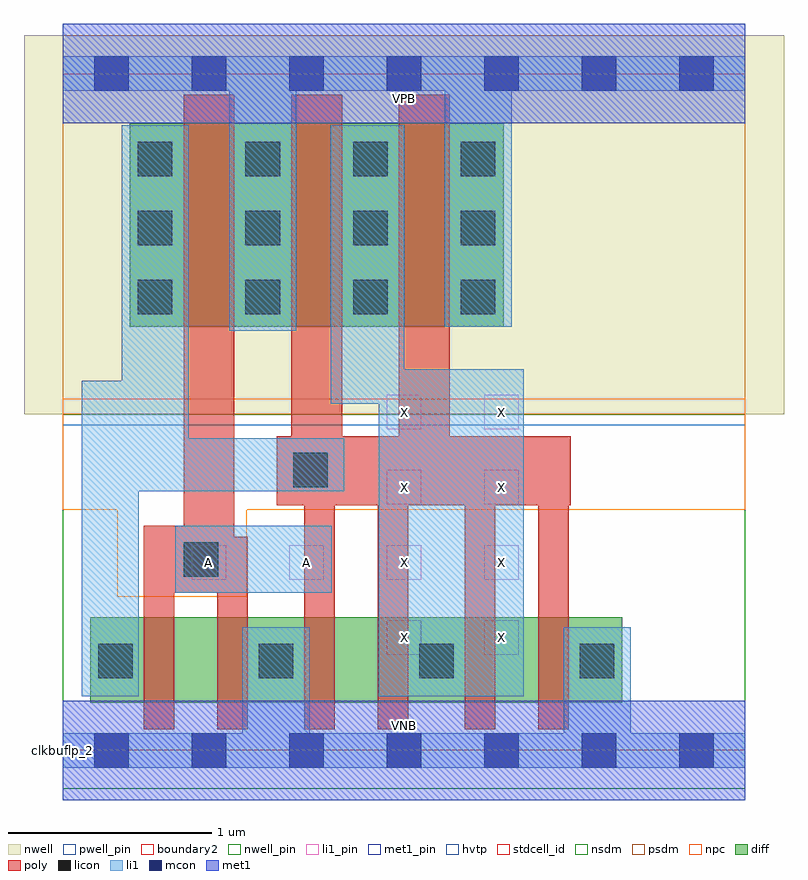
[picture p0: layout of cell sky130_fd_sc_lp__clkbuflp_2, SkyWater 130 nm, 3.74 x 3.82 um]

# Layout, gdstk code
import gdstk
lib = gdstk.Library(unit=1e-6, precision=1e-09)
def R(c, l, rs):  # rectangles x0, y0, x1, y1
    for r in rs: c.add(gdstk.rectangle(r[:2], r[2:], *l))
def A(c, l, x, y, w, h, nx, ny, dx, dy):  # array of equal rectangles
    R(c, l, [(x+i*dx, y+j*dy, x+i*dx+w, y+j*dy+h) for i in range(nx) for j in range(ny)])
def P(c, l, *ps):  # polygons
    for p in ps: c.add(gdstk.Polygon(p, *l))
nwell_pin = (64, 16)
nwell = (64, 20)
diff = (65, 20)
poly = (66, 20)
licon = (66, 44)
li1_pin = (67, 16)
li1 = (67, 20)
mcon = (67, 44)
met1_pin = (68, 16)
met1 = (68, 20)
hvtp = (78, 44)
stdcell_id = (81, 4)
nsdm = (93, 44)
psdm = (94, 20)
npc = (95, 20)
pwell_pin = (122, 16)
boundary2 = (236, 0)

sky130_fd_sc_lp__clkbufl = lib.new_cell('sky130_fd_sc_lp__clkbuflp_2')
R(sky130_fd_sc_lp__clkbufl, nwell_pin, [(0,3.085,3.36,3.33)])
R(sky130_fd_sc_lp__clkbufl, nwell, [(-0.19,1.655,3.55,3.52)])
R(sky130_fd_sc_lp__clkbufl, diff, [(0.135,0.235,2.755,0.655), (0.33,2.085,2.17,3.085)])
P(sky130_fd_sc_lp__clkbufl, poly, [(0.91,1.05),(0.845,1.05),(0.845,3.225),(0.595,3.225),(0.595,1.105),(0.4,1.105),(0.4,0.105),(0.55,0.105),(0.55,0.775),(0.76,0.775),(0.76,0.105),(0.91,0.105)],
  [(2.5,1.545),(1.905,1.545),(1.905,3.225),(1.655,3.225),(1.655,1.545),(1.375,1.545),(1.375,3.225),(1.125,3.225),(1.125,1.545),(1.055,1.545),(1.055,1.205),(1.19,1.205),(1.19,0.105),(1.34,0.105),(1.34,1.205),(1.55,1.205),(1.55,0.105),(1.7,0.105),(1.7,1.205),(1.98,1.205),(1.98,0.105),(2.13,0.105),(2.13,1.205),(2.34,1.205),(2.34,0.105),(2.49,0.105),(2.49,1.205),(2.5,1.205)])
A(sky130_fd_sc_lp__clkbufl, licon, 0.175, 0.355, 0.17, 0.17, 4, 1, 0.79, 0)
A(sky130_fd_sc_lp__clkbufl, licon, 0.37, 2.145, 0.17, 0.17, 4, 3, 0.53, 0.34)
R(sky130_fd_sc_lp__clkbufl, licon, [(0.595,0.855,0.765,1.025), (1.135,1.295,1.305,1.465)])
A(sky130_fd_sc_lp__clkbufl, li1_pin, 0.635, 0.84, 0.17, 0.17, 4, 1, 0.48, 0)
R(sky130_fd_sc_lp__clkbufl, li1_pin, [(1.595,0.47,1.765,0.64), (2.075,0.47,2.245,0.64), (1.595,1.21,1.765,1.38), (2.075,1.21,2.245,1.38), (1.595,1.58,1.765,1.75), (2.075,1.58,2.245,1.75)])
R(sky130_fd_sc_lp__clkbufl, li1, [(0.555,0.775,1.325,1.105)])
P(sky130_fd_sc_lp__clkbufl, li1, [(1.385,1.535),(0.62,1.535),(0.62,3.075),(0.29,3.075),(0.29,1.82),(0.095,1.82),(0.095,0.265),(0.375,0.265),(0.375,1.275),(1.385,1.275)],
  [(2.27,1.875),(1.68,1.875),(1.68,3.075),(1.32,3.075),(1.32,1.705),(1.555,1.705),(1.555,0.265),(2.27,0.265)],
  [(3.36,3.415),(0,3.415),(0,3.245),(0.82,3.245),(0.82,2.065),(1.15,2.065),(1.15,3.245),(1.88,3.245),(1.88,2.085),(2.21,2.085),(2.21,3.245),(3.36,3.245)],
  [(3.36,0.085),(2.795,0.085),(2.795,0.605),(2.465,0.605),(2.465,0.085),(1.215,0.085),(1.215,0.605),(0.885,0.605),(0.885,0.085),(0,0.085),(0,-0.085),(3.36,-0.085)])
A(sky130_fd_sc_lp__clkbufl, mcon, 0.155, -0.085, 0.17, 0.17, 7, 2, 0.48, 3.33)
R(sky130_fd_sc_lp__clkbufl, met1_pin, [(0,0,3.36,0.245), (0,3.085,3.36,3.33)])
R(sky130_fd_sc_lp__clkbufl, met1, [(0,-0.245,3.36,0.245), (0,3.085,3.36,3.575)])
R(sky130_fd_sc_lp__clkbufl, hvtp, [(0,1.6,3.36,3.33)])
R(sky130_fd_sc_lp__clkbufl, stdcell_id, [(0,0,3.36,3.33)])
R(sky130_fd_sc_lp__clkbufl, nsdm, [(0,-0.19,3.36,1.655)])
R(sky130_fd_sc_lp__clkbufl, psdm, [(0,1.655,3.36,3.52)])
P(sky130_fd_sc_lp__clkbufl, npc, [(3.36,1.73),(0,1.73),(0,1.185),(0.27,1.185),(0.27,0.755),(0.905,0.755),(0.905,1.185),(3.36,1.185)])
R(sky130_fd_sc_lp__clkbufl, pwell_pin, [(0,0,3.36,0.245)])
R(sky130_fd_sc_lp__clkbufl, boundary2, [(0,0,3.36,3.33)])
sky130_fd_sc_lp__clkbufl.add(gdstk.Label('VNB', (1.68,0.123), layer=64, texttype=59))
sky130_fd_sc_lp__clkbufl.add(gdstk.Label('VPB', (1.68,3.208), layer=64, texttype=5))
sky130_fd_sc_lp__clkbufl.add(gdstk.Label('clkbuflp_2', (0,0), layer=83, texttype=44))
sky130_fd_sc_lp__clkbufl.add(gdstk.Label('VPWR', (1.68,3.208), layer=68, texttype=5))
sky130_fd_sc_lp__clkbufl.add(gdstk.Label('VGND', (1.68,0.123), layer=68, texttype=5))
sky130_fd_sc_lp__clkbufl.add(gdstk.Label('X', (1.68,0.555), layer=67, texttype=5))
sky130_fd_sc_lp__clkbufl.add(gdstk.Label('A', (0.72,0.925), layer=67, texttype=5))
sky130_fd_sc_lp__clkbufl.add(gdstk.Label('A', (1.2,0.925), layer=67, texttype=5))
sky130_fd_sc_lp__clkbufl.add(gdstk.Label('X', (2.16,1.665), layer=67, texttype=5))
sky130_fd_sc_lp__clkbufl.add(gdstk.Label('X', (2.16,0.555), layer=67, texttype=5))
sky130_fd_sc_lp__clkbufl.add(gdstk.Label('X', (2.16,0.925), layer=67, texttype=5))
sky130_fd_sc_lp__clkbufl.add(gdstk.Label('X', (2.16,1.295), layer=67, texttype=5))
sky130_fd_sc_lp__clkbufl.add(gdstk.Label('X', (1.68,1.665), layer=67, texttype=5))
sky130_fd_sc_lp__clkbufl.add(gdstk.Label('X', (1.68,1.295), layer=67, texttype=5))
sky130_fd_sc_lp__clkbufl.add(gdstk.Label('X', (1.68,0.925), layer=67, texttype=5))

lib.write_gds('sky130_fd_sc_lp__clkbuflp_2.gds')
